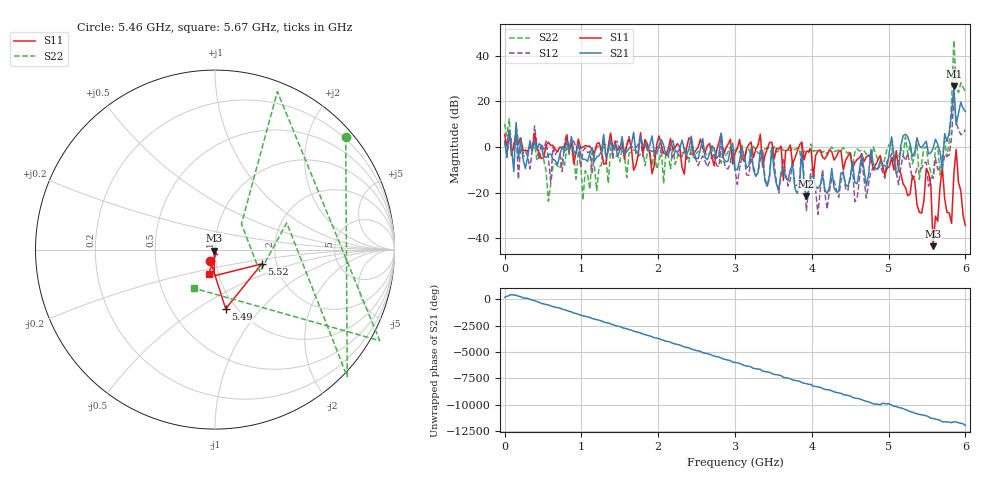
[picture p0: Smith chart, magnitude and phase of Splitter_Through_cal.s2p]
#  HZ  S  DB  R  50.0
! Rohde & Schwarz ZVL13 2Ports - Version 3.20 - 1303.6509k13 SN: 100953
! Date: 2024-10-09 08:06:13
! Data & Calibration Information:
! Trc1:S11(TOSM) Trc4:S21(TOSM) Trc2:S12(TOSM) Trc3:S22(TOSM)
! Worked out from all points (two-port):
!   201 points, 9 kHz to 6 GHz, reference 50 ohm
!   highest |S21| = 26.60 dB at 5.85 GHz (marker M1); lowest = -21.5 dB at 3.93 GHz (marker M2)
!   |S21| within 3 dB of the highest: 5.842379 GHz to 5.855334 GHz (12.96 MHz wide, 0.222 % of centre)
!   lowest |S11| = -43.4 dB at 5.58 GHz (marker M3), VSWR 1.01, Z = 49.6 - j0.531 ohm
!   |S11| at or under -10 dB: 5.133 GHz to 5.489 GHz (355.9 MHz wide, 6.7 % of centre); 5.498 GHz to 5.697 GHz (198.1 MHz wide, 3.54 % of centre); 5.702 GHz to 5.855 GHz (153.1 MHz wide, 2.65 % of centre) (the widest 3 of 11)
!   |S22| runs from -23.8 to 46.7 dB; largest |S21 - S12| = 32
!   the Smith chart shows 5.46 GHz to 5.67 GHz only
!   S11 on the Smith chart (normalised r, x): 5.46 GHz: 0.94, -0.12; 5.49 GHz: 0.89, -0.66; 5.52 GHz: 1.67, -0.29; 5.67 GHz: 0.90, -0.25
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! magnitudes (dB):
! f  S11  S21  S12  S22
! 9 kHz  5.6  2.6  3.0  10.1
! 480 MHz  -5.0  0.6  1.5  0.6
! 570 MHz  2.1  -3.5  -4.8  -23.8
! 870 MHz  2.6  4.7  3.2  2.0
! 1.02 GHz  0.0  -5.4  -1.7  -23.2
! 1.29 GHz  -7.4  5.6  1.8  3.4
! 1.35 GHz  0.1  -1.7  0.5  -15.8
! 2.01 GHz  4.9  0.4  0.5  -6.8
! 3 GHz  -2.8  -9.9  -10.1  -1.2
! 3.87 GHz  2.2  -2.1  1.8  -7.7
! 3.93 GHz  -1.9  -21.5  -27.9  -2.0
! 4.02 GHz  -13.1  -12.6  -9.0  -1.8
! 4.08 GHz  -1.7  -18.1  -29.5  -1.5
! 5.01 GHz  -8.6  -2.0  -5.0  1.3
! 5.46 GHz  -23.5  1.3  -6.8  -0.3
! 5.49 GHz  -9.5  2.6  -6.6  0.2
! 5.52 GHz  -11.3  -3.0  -17.2  -7.4
! 5.58 GHz  -43.4  -0.5  -13.1  -13.7
! 5.67 GHz  -17.2  -2.0  -9.3  -12.2
! 5.79 GHz  -28.8  6.7  -3.4  2.8
! 5.85 GHz  -11.9  26.6  21.9  46.7
! 6 GHz  -34.4  15.6  7.6  24.4
